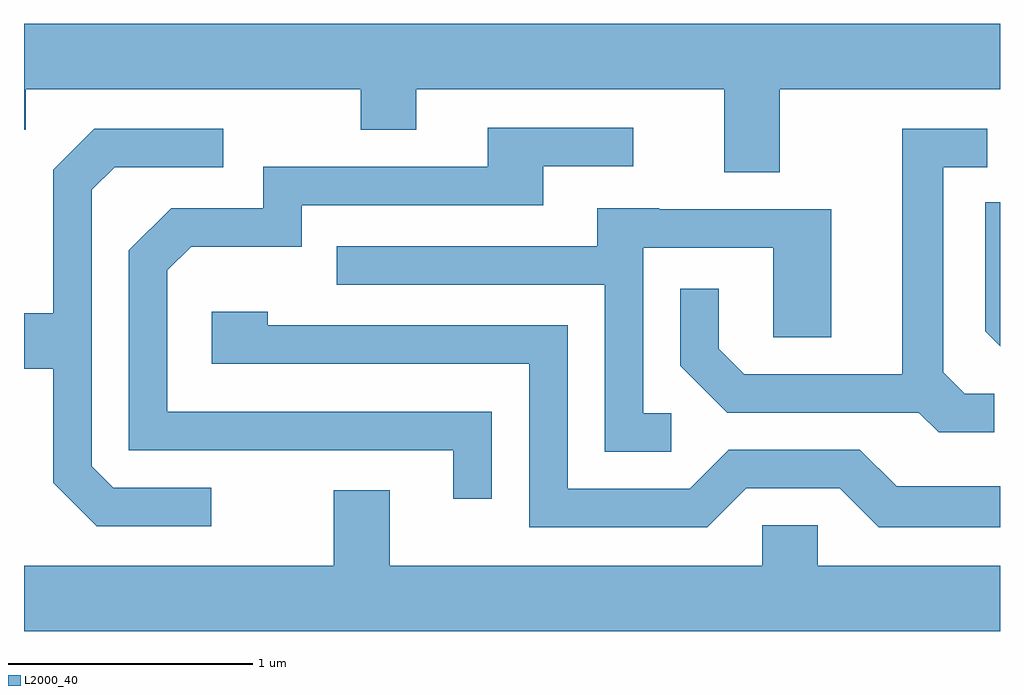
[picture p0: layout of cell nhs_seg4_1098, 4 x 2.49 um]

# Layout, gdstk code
import gdstk
lib = gdstk.Library(unit=1e-6, precision=1e-09)
def P(c, l, *ps):  # polygons
    for p in ps: c.add(gdstk.Polygon(p, *l))
L2000_40 = (2000, 40)

nhs_seg4_1098 = lib.new_cell('nhs_seg4_1098')
P(nhs_seg4_1098, L2000_40, [(220.709,1276.976),(221.611,1276.976),(221.611,1277.244),(217.611,1277.244),(217.611,1276.811),(217.619,1276.811),(217.619,1276.976),(218.991,1276.976),(218.991,1276.811),(219.219,1276.811),(219.219,1276.976),(220.481,1276.976),(220.481,1276.636),(220.709,1276.636)],
  [(219.529,1275.654),(218.199,1275.654),(218.199,1276.234),(218.297,1276.331),(218.749,1276.331),(218.749,1276.501),(219.739,1276.501),(219.739,1276.661),(220.108,1276.661),(220.108,1276.819),(219.511,1276.819),(219.511,1276.659),(218.591,1276.659),(218.591,1276.489),(218.214,1276.489),(218.041,1276.317),(218.041,1275.496),(219.371,1275.496),(219.371,1275.298),(219.529,1275.298)],
  [(218.378,1275.344),(217.977,1275.344),(217.889,1275.432),(217.889,1276.564),(217.982,1276.656),(218.428,1276.656),(218.428,1276.814),(217.899,1276.814),(217.731,1276.647),(217.731,1276.059),(217.611,1276.059),(217.611,1275.831),(217.731,1275.831),(217.731,1275.364),(217.909,1275.186),(218.378,1275.186)],
  [(221.588,1275.729),(221.467,1275.729),(221.379,1275.817),(221.379,1276.656),(221.558,1276.656),(221.558,1276.814),(221.211,1276.814),(221.211,1275.809),(220.562,1275.809),(220.459,1275.912),(220.459,1276.158),(220.301,1276.158),(220.301,1275.844),(220.494,1275.651),(221.279,1275.651),(221.359,1275.571),(221.588,1275.571)],
  [(221.611,1276.513),(221.551,1276.513),(221.551,1275.984),(221.611,1275.924)],
  [(220.263,1275.649),(220.149,1275.649),(220.149,1276.326),(220.681,1276.326),(220.681,1275.961),(220.919,1275.961),(220.919,1276.484),(220.215,1276.484),(220.215,1276.489),(219.961,1276.489),(219.961,1276.334),(218.893,1276.334),(218.893,1276.176),(219.991,1276.176),(219.991,1275.491),(220.263,1275.491)],
  [(220.572,1275.341),(220.954,1275.341),(221.114,1275.181),(221.611,1275.181),(221.611,1275.349),(221.187,1275.349),(221.037,1275.499),(220.499,1275.499),(220.339,1275.339),(219.839,1275.339),(219.839,1276.009),(218.609,1276.009),(218.609,1276.064),(218.381,1276.064),(218.381,1275.851),(219.681,1275.851),(219.681,1275.181),(220.412,1275.181)],
  [(221.611,1275.024),(220.864,1275.024),(220.864,1275.189),(220.636,1275.189),(220.636,1275.024),(219.109,1275.024),(219.109,1275.334),(218.881,1275.334),(218.881,1275.024),(217.611,1275.024),(217.611,1274.756),(221.611,1274.756)])

lib.write_gds('nhs_seg4_1098.gds')
